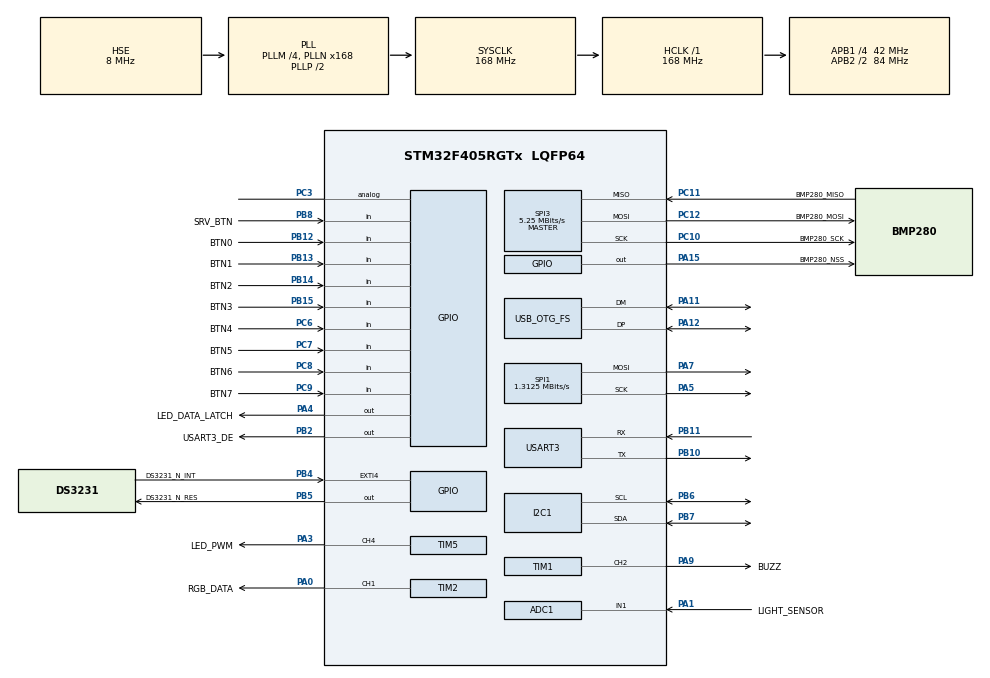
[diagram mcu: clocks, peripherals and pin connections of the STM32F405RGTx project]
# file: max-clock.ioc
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ADC1.Channel-4\#ChannelRegularConversion=ADC_CHANNEL_1
ADC1.ClockPrescaler=ADC_CLOCK_SYNC_PCLK_DIV8
ADC1.ContinuousConvMode=DISABLE
ADC1.DMAContinuousRequests=ENABLE
ADC1.DataAlign=ADC_DATAALIGN_RIGHT
ADC1.DiscontinuousConvMode=DISABLE
ADC1.EOCSelection=ADC_EOC_SINGLE_CONV
ADC1.EnableAnalogWatchDog=false
ADC1.ExternalTrigConv=ADC_SOFTWARE_START
ADC1.ExternalTrigConvEdge=ADC_EXTERNALTRIGCONVEDGE_NONE
ADC1.InjNumberOfConversion=0
ADC1.NbrOfConversion=1
ADC1.NbrOfConversionFlag=1
ADC1.Rank-4\#ChannelRegularConversion=1
ADC1.Resolution=ADC_RESOLUTION_12B
ADC1.SamplingTime-4\#ChannelRegularConversion=ADC_SAMPLETIME_480CYCLES
ADC1.ScanConvMode=DISABLE
ADC1.master=1
Dma.ADC1.1.Direction=DMA_PERIPH_TO_MEMORY
Dma.ADC1.1.FIFOMode=DMA_FIFOMODE_DISABLE
Dma.ADC1.1.Instance=DMA2_Stream0
Dma.ADC1.1.MemDataAlignment=DMA_MDATAALIGN_HALFWORD
Dma.ADC1.1.MemInc=DMA_MINC_ENABLE
Dma.ADC1.1.Mode=DMA_NORMAL
Dma.ADC1.1.PeriphDataAlignment=DMA_PDATAALIGN_HALFWORD
Dma.ADC1.1.PeriphInc=DMA_PINC_DISABLE
Dma.ADC1.1.Priority=DMA_PRIORITY_LOW
Dma.Request0=TIM2_CH1
Dma.Request1=ADC1
Dma.TIM2_CH1.0.Direction=DMA_MEMORY_TO_PERIPH
Dma.TIM2_CH1.0.FIFOMode=DMA_FIFOMODE_DISABLE
Dma.TIM2_CH1.0.Instance=DMA1_Stream5
Dma.TIM2_CH1.0.MemDataAlignment=DMA_MDATAALIGN_WORD
Dma.TIM2_CH1.0.MemInc=DMA_MINC_ENABLE
Dma.TIM2_CH1.0.Mode=DMA_NORMAL
Dma.TIM2_CH1.0.PeriphDataAlignment=DMA_PDATAALIGN_WORD
Dma.TIM2_CH1.0.PeriphInc=DMA_PINC_DISABLE
Dma.TIM2_CH1.0.Priority=DMA_PRIORITY_LOW
FREERTOS.Tasks01=defaultTask,0,128,StartDefaultTask,Default,NULL
FREERTOS.configUSE_MALLOC_FAILED_HOOK=0
I2C1.I2C_Mode=I2C_Fast
Mcu.Family=STM32F4
Mcu.Name=STM32F405RGTx
Mcu.Package=LQFP64
NVIC.DMA1_Stream5_IRQn=true\:5\:0\:false\:false\:true\:true\:false\:true
NVIC.DMA2_Stream0_IRQn=true\:5\:0\:false\:false\:true\:true\:false\:true
NVIC.PriorityGroup=NVIC_PRIORITYGROUP_4
NVIC.TIM6_DAC_IRQn=true\:0\:0\:false\:false\:true\:false\:false\:true
NVIC.TIM7_IRQn=true\:5\:0\:false\:false\:true\:true\:true\:true
NVIC.TimeBase=TIM6_DAC_IRQn
NVIC.TimeBaseIP=TIM6
NVIC.USART3_IRQn=true\:5\:0\:false\:false\:true\:true\:true\:true
PA0-WKUP.GPIO_Label=RGB_DATA
PA0-WKUP.GPIO_ModeDefaultPP=GPIO_MODE_AF_PP
PA0-WKUP.GPIO_PuPd=GPIO_PULLDOWN
PA0-WKUP.GPIO_Speed=GPIO_SPEED_FREQ_VERY_HIGH
PA0-WKUP.Signal=S_TIM2_CH1_ETR
PA1.GPIO_Label=LIGHT_SENSOR
PA1.Signal=ADCx_IN1
PA11.Mode=Device_Only
PA11.Signal=USB_OTG_FS_DM
PA12.Mode=Device_Only
PA12.Signal=USB_OTG_FS_DP
PA13.Mode=Trace_Asynchronous_SW
PA13.Signal=SYS_JTMS-SWDIO
PA14.Mode=Trace_Asynchronous_SW
PA14.Signal=SYS_JTCK-SWCLK
PA15.GPIO_Label=BMP280_NSS
PA15.GPIO_PuPd=GPIO_PULLUP
PA15.GPIO_Speed=GPIO_SPEED_FREQ_VERY_HIGH
PA15.PinState=GPIO_PIN_SET
PA15.Signal=GPIO_Output
PA3.GPIO_Label=LED_PWM
PA3.Signal=S_TIM5_CH4
PA4.GPIO_Label=LED_DATA_LATCH
PA4.GPIO_PuPd=GPIO_PULLDOWN
PA4.GPIO_Speed=GPIO_SPEED_FREQ_HIGH
PA4.Signal=GPIO_Output
PA5.Mode=TX_Only_Simplex_Unidirect_Master
PA5.Signal=SPI1_SCK
PA7.Mode=TX_Only_Simplex_Unidirect_Master
PA7.Signal=SPI1_MOSI
PA9.GPIO_Label=BUZZ
PA9.GPIO_PuPd=GPIO_PULLUP
PA9.GPIO_Speed=GPIO_SPEED_FREQ_HIGH
PA9.Signal=S_TIM1_CH2
PB10.Mode=Asynchronous
PB10.Signal=USART3_TX
PB11.Mode=Asynchronous
PB11.Signal=USART3_RX
PB12.GPIO_Label=BTN0
PB12.GPIO_PuPd=GPIO_PULLUP
PB12.Signal=GPIO_Input
PB13.GPIO_Label=BTN1
PB13.GPIO_PuPd=GPIO_PULLUP
PB13.Signal=GPIO_Input
PB14.GPIO_Label=BTN2
PB14.GPIO_PuPd=GPIO_PULLUP
PB14.Signal=GPIO_Input
PB15.GPIO_Label=BTN3
PB15.GPIO_PuPd=GPIO_PULLUP
PB15.Signal=GPIO_Input
PB2.GPIO_Label=USART3_DE
PB2.GPIO_PuPd=GPIO_PULLDOWN
PB2.GPIO_Speed=GPIO_SPEED_FREQ_HIGH
PB2.Signal=GPIO_Output
PB3.Mode=Trace_Asynchronous_SW
PB3.Signal=SYS_JTDO-SWO
PB4.GPIO_Label=DS3231_N_INT
PB4.GPIO_PuPd=GPIO_PULLUP
PB4.Signal=GPXTI4
PB5.GPIO_Label=DS3231_N_RES
PB5.GPIO_PuPd=GPIO_PULLUP
PB5.Signal=GPIO_Output
PB6.Mode=I2C
PB6.Signal=I2C1_SCL
PB7.Mode=I2C
PB7.Signal=I2C1_SDA
PB8.GPIO_Label=SRV_BTN
PB8.Signal=GPIO_Input
PC10.GPIO_Label=BMP280_SCK
PC10.Mode=Full_Duplex_Master
PC10.Signal=SPI3_SCK
PC11.GPIO_Label=BMP280_MISO
PC11.Mode=Full_Duplex_Master
PC11.Signal=SPI3_MISO
PC12.GPIO_Label=BMP280_MOSI
PC12.Mode=Full_Duplex_Master
PC12.Signal=SPI3_MOSI
PC3.Signal=GPIO_Analog
PC6.GPIO_Label=BTN4
PC6.GPIO_PuPd=GPIO_PULLUP
PC6.Signal=GPIO_Input
PC7.GPIO_Label=BTN5
PC7.GPIO_PuPd=GPIO_PULLUP
PC7.Signal=GPIO_Input
PC8.GPIO_Label=BTN6
PC8.GPIO_PuPd=GPIO_PULLUP
PC8.Signal=GPIO_Input
PC9.GPIO_Label=BTN7
PC9.GPIO_PuPd=GPIO_PULLUP
PC9.Signal=GPIO_Input
PH0-OSC_IN.Mode=HSE-External-Oscillator
PH0-OSC_IN.Signal=RCC_OSC_IN
PH1-OSC_OUT.Mode=HSE-External-Oscillator
PH1-OSC_OUT.Signal=RCC_OSC_OUT
ProjectManager.HeapSize=0x400
ProjectManager.StackSize=0x800
ProjectManager.TargetToolchain=STM32CubeIDE
RCC.48MHZClocksFreq_Value=48000000
RCC.AHBFreq_Value=168000000
RCC.APB1CLKDivider=RCC_HCLK_DIV4
RCC.APB1Freq_Value=42000000
RCC.APB1TimFreq_Value=84000000
RCC.APB2CLKDivider=RCC_HCLK_DIV2
RCC.APB2Freq_Value=84000000
RCC.APB2TimFreq_Value=168000000
RCC.CortexFreq_Value=168000000
RCC.HCLKFreq_Value=168000000
RCC.HSE_VALUE=8000000
RCC.HSI_VALUE=16000000
RCC.LSE_VALUE=32768
RCC.PLLM=4
RCC.PLLN=168
RCC.PLLQ=7
RCC.SYSCLKFreq_VALUE=168000000
RCC.SYSCLKSource=RCC_SYSCLKSOURCE_PLLCLK
RCC.VCOOutputFreq_Value=336000000
SH.ADCx_IN1.0=ADC1_IN1,IN1
SH.S_TIM1_CH2.0=TIM1_CH2,PWM Generation2 CH2
SH.S_TIM2_CH1_ETR.0=TIM2_CH1,PWM Generation1 CH1
SH.S_TIM5_CH4.0=TIM5_CH4,PWM Generation4 CH4
SPI1.BaudRatePrescaler=SPI_BAUDRATEPRESCALER_64
SPI1.CalculateBaudRate=1.3125 MBits/s
SPI1.DataSize=SPI_DATASIZE_16BIT
SPI1.Direction=SPI_DIRECTION_2LINES
SPI1.Mode=SPI_MODE_MASTER
SPI1.VirtualType=VM_MASTER
SPI3.BaudRatePrescaler=SPI_BAUDRATEPRESCALER_8
SPI3.CalculateBaudRate=5.25 MBits/s
SPI3.DataSize=SPI_DATASIZE_8BIT
SPI3.Direction=SPI_DIRECTION_2LINES
SPI3.Mode=SPI_MODE_MASTER
SPI3.TIMode=SPI_TIMODE_DISABLE
SPI3.VirtualType=VM_MASTER
TIM1.Channel-PWM\ Generation2\ CH2=TIM_CHANNEL_2
TIM1.Period=65535
TIM1.Pulse-PWM\ Generation2\ CH2=32767
TIM2.Channel-PWM\ Generation1\ CH1=TIM_CHANNEL_1
TIM2.Period=104
TIM2.Prescaler=0
TIM5.Channel-PWM\ Generation4\ CH4=TIM_CHANNEL_4
TIM5.Period=255
TIM5.Prescaler=8
TIM5.Pulse-PWM\ Generation4\ CH4=230
TIM7.Period=49
TIM7.Prescaler=83
USART3.VirtualMode=VM_ASYNC
USB_OTG_FS.VirtualMode=Device_Only
VP_FREERTOS_VS_CMSIS_V1.Mode=CMSIS_V1
VP_SYS_VS_tim6.Mode=TIM6
VP_TIM2_VS_ClockSourceINT.Mode=Internal
VP_TIM5_VS_ClockSourceINT.Mode=Internal
VP_TIM7_VS_ClockSourceINT.Mode=Enable_Timer
board=custom

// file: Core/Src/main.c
/* USER CODE BEGIN Header */
/**
  ******************************************************************************
  * @file           : main.c
  * @brief          : Main program body
  ******************************************************************************
  * @attention
  *
  * <h2><center>&copy; Copyright (c) 2020 STMicroelectronics.
  * All rights reserved.</center></h2>
  *
  * This software component is licensed by ST under Ultimate Liberty license
  * SLA0044, the "License"; You may not use this file except in compliance with
  * the License. You may obtain a copy of the License at:
  *                             www.st.com/SLA0044
  *
  ******************************************************************************
  */
/* USER CODE END Header */

#include "main.h"
#include "cmsis_os.h"
#include "adc.h"
#include "dma.h"
#include "i2c.h"
#include "spi.h"
#include "tim.h"
#include "usart.h"
#include "usb_otg.h"
#include "gpio.h"

void SystemClock_Config(void);
void MX_FREERTOS_Init(void);

int main(void)
{

  /* MCU Configuration--------------------------------------------------------*/

  /* Reset of all peripherals, Initializes the Flash interface and the Systick. */
  HAL_Init();

  /* Configure the system clock */
  SystemClock_Config();

  /* Initialize all configured peripherals */
  MX_GPIO_Init();
  MX_DMA_Init();
  MX_USB_OTG_FS_PCD_Init();
  MX_I2C1_Init();
  MX_SPI1_Init();
  MX_TIM2_Init();
  MX_ADC1_Init();
  MX_TIM1_Init();
  MX_SPI3_Init();
  MX_USART3_UART_Init();
  MX_TIM5_Init();
  MX_TIM7_Init();

  /* Call init function for freertos objects (in freertos.c) */
  MX_FREERTOS_Init();
  /* Start scheduler */
  osKernelStart();

  /* We should never get here as control is now taken by the scheduler */
  /* Infinite loop */
  while (1)
  {

  }
}

void SystemClock_Config(void)
{
  RCC_OscInitTypeDef RCC_OscInitStruct = {0};
  RCC_ClkInitTypeDef RCC_ClkInitStruct = {0};

  /** Configure the main internal regulator output voltage
  */
  __HAL_RCC_PWR_CLK_ENABLE();
  __HAL_PWR_VOLTAGESCALING_CONFIG(PWR_REGULATOR_VOLTAGE_SCALE1);
  /** Initializes the CPU, AHB and APB busses clocks
  */
  RCC_OscInitStruct.OscillatorType = RCC_OSCILLATORTYPE_HSE;
  RCC_OscInitStruct.HSEState = RCC_HSE_ON;
  RCC_OscInitStruct.PLL.PLLState = RCC_PLL_ON;
  RCC_OscInitStruct.PLL.PLLSource = RCC_PLLSOURCE_HSE;
  RCC_OscInitStruct.PLL.PLLM = 4;
  RCC_OscInitStruct.PLL.PLLN = 168;
  RCC_OscInitStruct.PLL.PLLP = RCC_PLLP_DIV2;
  RCC_OscInitStruct.PLL.PLLQ = 7;
  if (HAL_RCC_OscConfig(&RCC_OscInitStruct) != HAL_OK)
  {
    Error_Handler();
  }
  /** Initializes the CPU, AHB and APB busses clocks
  */
  RCC_ClkInitStruct.ClockType = RCC_CLOCKTYPE_HCLK|RCC_CLOCKTYPE_SYSCLK
                              |RCC_CLOCKTYPE_PCLK1|RCC_CLOCKTYPE_PCLK2;
  RCC_ClkInitStruct.SYSCLKSource = RCC_SYSCLKSOURCE_PLLCLK;
  RCC_ClkInitStruct.AHBCLKDivider = RCC_SYSCLK_DIV1;
  RCC_ClkInitStruct.APB1CLKDivider = RCC_HCLK_DIV4;
  RCC_ClkInitStruct.APB2CLKDivider = RCC_HCLK_DIV2;

  if (HAL_RCC_ClockConfig(&RCC_ClkInitStruct, FLASH_LATENCY_5) != HAL_OK)
  {
    Error_Handler();
  }
}

 /**
  * @brief  Period elapsed callback in non blocking mode
  * @note   This function is called  when TIM6 interrupt took place, inside
  * HAL_TIM_IRQHandler(). It makes a direct call to HAL_IncTick() to increment
  * a global variable "uwTick" used as application time base.
  * @param  htim : TIM handle
  * @retval None
  */
void HAL_TIM_PeriodElapsedCallback(TIM_HandleTypeDef *htim)
{
  if (htim->Instance == TIM6) {
    HAL_IncTick();
  }
}

void Error_Handler(void)
{
}

/************************ (C) COPYRIGHT STMicroelectronics *****END OF FILE****/

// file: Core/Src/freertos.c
/* USER CODE BEGIN Header */
/**
  ******************************************************************************
  * File Name          : freertos.c
  * Description        : Code for freertos applications
  ******************************************************************************
  * @attention
  *
  * <h2><center>&copy; Copyright (c) 2020 STMicroelectronics.
  * All rights reserved.</center></h2>
  *
  * This software component is licensed by ST under Ultimate Liberty license
  * SLA0044, the "License"; You may not use this file except in compliance with
  * the License. You may obtain a copy of the License at:
  *                             www.st.com/SLA0044
  *
  ******************************************************************************
  */
/* USER CODE END Header */

#include "FreeRTOS.h"
#include "task.h"
#include "main.h"
#include "cmsis_os.h"

/* USER CODE BEGIN Includes */
#include "aux2.h"
#include "ws2812.h"
#include "display.h"

#include "fsm_data.h"
#include "fsm_luminosity.h"

/* USER CODE END Includes */

/* USER CODE BEGIN Variables */
static const uint32_t 	CYCLE_DELAY = 10u;

FsmData fsm;
FsmLuminosity fsm_lum;
Display display;
size_t n_places = 6;

osThreadId main_task_handle;

/* USER CODE END Variables */
osThreadId defaultTaskHandle;

/* USER CODE BEGIN FunctionPrototypes */
void MainTask(void const * argument);

/* USER CODE END FunctionPrototypes */

void StartDefaultTask(void const * argument);

void MX_FREERTOS_Init(void); /* (MISRA C 2004 rule 8.1) */

/* GetIdleTaskMemory prototype (linked to static allocation support) */
void vApplicationGetIdleTaskMemory( StaticTask_t **ppxIdleTaskTCBBuffer, StackType_t **ppxIdleTaskStackBuffer, uint32_t *pulIdleTaskStackSize );

/* USER CODE BEGIN GET_IDLE_TASK_MEMORY */
static StaticTask_t xIdleTaskTCBBuffer;
static StackType_t xIdleStack[configMINIMAL_STACK_SIZE];

void vApplicationGetIdleTaskMemory( StaticTask_t **ppxIdleTaskTCBBuffer, StackType_t **ppxIdleTaskStackBuffer, uint32_t *pulIdleTaskStackSize )
{
  *ppxIdleTaskTCBBuffer = &xIdleTaskTCBBuffer;
  *ppxIdleTaskStackBuffer = &xIdleStack[0];
  *pulIdleTaskStackSize = configMINIMAL_STACK_SIZE;
  /* place for user code */
}
/* USER CODE END GET_IDLE_TASK_MEMORY */

void MX_FREERTOS_Init(void) {

  /* Create the thread(s) */
  /* definition and creation of defaultTask */
  osThreadDef(defaultTask, StartDefaultTask, osPriorityNormal, 0, 128);
  defaultTaskHandle = osThreadCreate(osThread(defaultTask), NULL);

  /* USER CODE BEGIN RTOS_THREADS */
  /* add threads, ... */
  osThreadDef(main_task, MainTask, osPriorityNormal, 0, 1024);
  main_task_handle = osThreadCreate(osThread(main_task), NULL);

  /* USER CODE END RTOS_THREADS */

}

void StartDefaultTask(void const * argument)
{
  for(;;)
  {
    osDelay(1);
  }
}

/* USER CODE BEGIN Application */
void MainTask(void const * argument)
{
	{
		/* Hardware setup */
		HAL_Delay(10);
		ws2812_init();
		SetBrightnessOn();
		SetBrightness(200u);
		Beep();
	}

	FsmDataCreate(&fsm);
	FsmLuminosityCreate(&fsm_lum);

	DisplayCreate(&display, n_places, &hspi1,
	LED_DATA_LATCH_GPIO_Port,
	LED_DATA_LATCH_Pin);

	/* Infinite loop */
	while (1) {
		FsmLuminosityDoCalc(&fsm_lum);

		FsmDataCalcCelestial(&fsm);
		FsmDataSetBacklight(&fsm);
		FsmDataProcess(&fsm);

		HAL_Delay(CYCLE_DELAY);
	}
}

/* USER CODE END Application */

/************************ (C) COPYRIGHT STMicroelectronics *****END OF FILE****/
